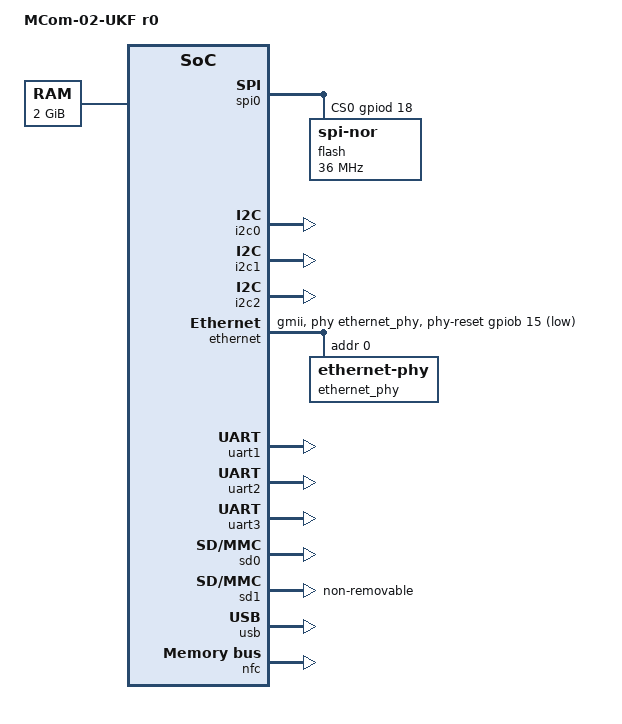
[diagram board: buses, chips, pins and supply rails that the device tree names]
/*
 * Copyright 2018 RnD Center "ELVEES", JSC
 *
 * This program is free software; you can redistribute it and/or modify
 * it under the terms of the GNU General Public License version 2 as
 * published by the Free Software Foundation.
 */

/dts-v1/;

#include <dt-bindings/gpio/gpio.h>
#include <dt-bindings/net/ti-dp83867.h>
#include <dt-bindings/interrupt-controller/irq.h>

#include "mcom02.dtsi"

/ {
	model = "MCom-02-UKF r0";

	chosen {
		bootargs = "console=ttyS0,115200";
	};

	aliases {
		spi0 = &spi0;
	};

	memory {
		device_type = "memory";
		reg = <0x40000000 0x40000000
		       0xa0000000 0x40000000>;
	};
};

&spi0 {
	status = "okay";
	num-cs = <1>;
	/* Third argument of "cs-gpios" property is set to 0,
	 * because it is ignored by the SPI driver. */
	cs-gpios = <&gpiod 18 0>;

	flash: flash@0 {
		#address-cells = <1>;
		#size-cells = <1>;
		compatible = "jedec,spi-nor", "spi-flash";
		reg = <0>;
		spi-max-frequency = <36000000>;
		m25p,fast-read;
		u-boot,dm-pre-reloc;
	};
};

&i2c0 {
	status = "okay";
};

&i2c1 {
	status = "okay";
};

&i2c2 {
	status = "okay";
};

&ethernet {
	#address-cells = <1>;
	#size-cells = <0>;
	status = "okay";
	phy-mode = "gmii";
	phy-handle = <&ethernet_phy>;
	phy-reset-gpios = <&gpiob 15 GPIO_ACTIVE_LOW>;
	txclk-125en-gpios = <&gpiob 14 GPIO_ACTIVE_HIGH>;

	ethernet_phy: ethernet-phy@0 {
		reg = <0x0>;
	};
};

&framebuffer {
	status = "okay";
};

&uart1 {
	status = "okay";
};

&uart2 {
	status = "okay";
};

&uart3 {
	status = "okay";
};

&sd0 {
	status = "okay";
};

&sd1 {
	status = "okay";
	non-removable;
};

&usb {
	status = "okay";
};

&nfc {
	status = "okay";
};

&gpiod {
	skip-gpios = <13>;
};

&spllclk {
	clock-mult = <6>;
};

&l3_pclk {
	clock-div = <1>;
};
